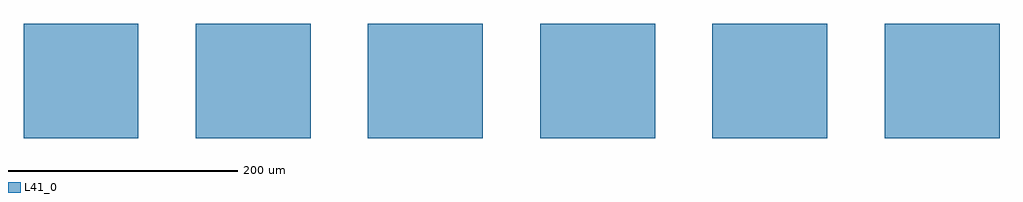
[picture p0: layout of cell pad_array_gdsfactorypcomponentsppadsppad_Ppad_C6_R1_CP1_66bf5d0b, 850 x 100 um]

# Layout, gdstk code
import gdstk
lib = gdstk.Library(unit=1e-6, precision=1e-09)
def R(c, l, rs):  # rectangles x0, y0, x1, y1
    for r in rs: c.add(gdstk.rectangle(r[:2], r[2:], *l))
L41_0 = (41, 0)

pad_gdsfactorypcomponent = lib.new_cell('pad_gdsfactorypcomponentsppadsppad_S100_100_LM1_BLNone__ea24abb1')
R(pad_gdsfactorypcomponent, L41_0, [(-50,-50,50,50)])

pad_array_gdsfactorypcom = lib.new_cell('pad_array_gdsfactorypcomponentsppadsppad_Ppad_C6_R1_CP1_66bf5d0b')
r = gdstk.Reference(pad_gdsfactorypcomponent, (0,0)); r.repetition = gdstk.Repetition(6, 1, v1=(150,0), v2=(0,0)); pad_array_gdsfactorypcom.add(r)

lib.write_gds('pad_array_gdsfactorypcomponentsppadsppad_Ppad_C6_R1_CP1_66bf5d0b.gds')
